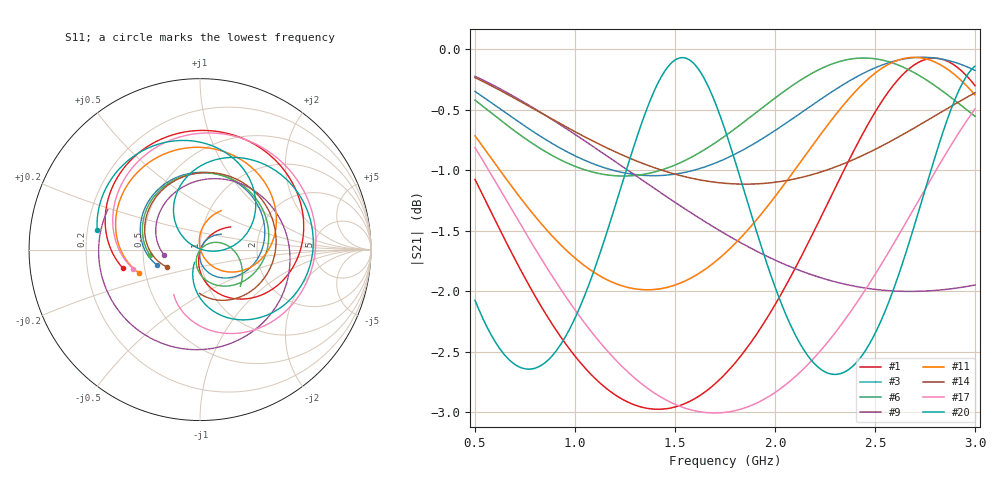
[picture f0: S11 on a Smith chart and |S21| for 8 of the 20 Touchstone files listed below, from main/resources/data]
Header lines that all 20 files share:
!freq-unit  param-type  data-format  keyword  impedance-ohms
# GHZ  S  RI  R  50
!Freq  ReS11  ImS11  ReS21  ImS21  ReS12  ImS12  ReS22  ImS22
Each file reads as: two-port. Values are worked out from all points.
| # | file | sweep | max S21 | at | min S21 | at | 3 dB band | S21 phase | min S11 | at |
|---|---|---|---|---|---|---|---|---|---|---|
| 1 | 6.s2p | 500 MHz to 3 GHz | -0.07 dB | 2.8 GHz | -3.0 dB | 1.42 GHz | 500 MHz-3 GHz | 130 deg at 1.75 GHz | -47.0 dB | 2.8 GHz |
| 2 | 7.s2p | 500 MHz to 3 GHz | -0.22 dB | 500 MHz | -1.1 dB | 1.87 GHz | 500 MHz-3 GHz | 149 deg at 1.75 GHz | -13.5 dB | 500 MHz |
| 3 | 8.s2p | 500 MHz to 3 GHz | -0.07 dB | 2.74 GHz | -1.0 dB | 1.39 GHz | 500 MHz-3 GHz | 124 deg at 1.75 GHz | -52.0 dB | 2.74 GHz |
| 4 | 9.s2p | 500 MHz to 3 GHz | -0.09 dB | 2.97 GHz | -2.6 dB | 1.49 GHz | 500 MHz-3 GHz | 134 deg at 1.75 GHz | -47.8 dB | 2.97 GHz |
| 5 | 11.s2p | 500 MHz to 3 GHz | -0.16 dB | 3 GHz | -1.1 dB | 1.65 GHz | 500 MHz-3 GHz | 35 deg at 1.75 GHz | -18.1 dB | 3 GHz |
| 6 | 12.s2p | 500 MHz to 3 GHz | -0.07 dB | 2.44 GHz | -1.0 dB | 1.24 GHz | 500 MHz-3 GHz | 80 deg at 1.75 GHz | -54.7 dB | 2.45 GHz |
| 7 | 14.s2p | 500 MHz to 3 GHz | -0.39 dB | 500 MHz | -2.0 dB | 1.99 GHz | 500 MHz-3 GHz | 138 deg at 1.75 GHz | -10.9 dB | 500 MHz |
| 8 | 16.s2p | 500 MHz to 3 GHz | -0.34 dB | 500 MHz | -2.0 dB | 2.15 GHz | 500 MHz-3 GHz | 112 deg at 1.75 GHz | -11.6 dB | 500 MHz |
| 9 | 17.s2p | 500 MHz to 3 GHz | -0.22 dB | 500 MHz | -2.0 dB | 2.67 GHz | 500 MHz-3 GHz | 110 deg at 1.75 GHz | -13.5 dB | 500 MHz |
| 10 | 0018.s2p | 45 MHz to 18 GHz | -0.01 dB | 45 MHz | -3.3 dB | 16.84 GHz | 45 MHz-16.45 GHz | -16 deg at 9.025 GHz | -47.4 dB | 3.825 GHz |
| 11 | 22.s2p | 500 MHz to 3 GHz | -0.07 dB | 2.7 GHz | -2.0 dB | 1.36 GHz | 500 MHz-3 GHz | 133 deg at 1.75 GHz | -50.3 dB | 2.7 GHz |
| 12 | 24.s2p | 500 MHz to 3 GHz | -0.16 dB | 3 GHz | -2.0 dB | 1.63 GHz | 500 MHz-3 GHz | 131 deg at 1.75 GHz | -17.2 dB | 3 GHz |
| 13 | 25.s2p | 500 MHz to 3 GHz | -0.28 dB | 3 GHz | -3.5 dB | 1.63 GHz | 1.95 GHz-3 GHz | 140 deg at 1.75 GHz | -13.5 dB | 3 GHz |
| 14 | 26.s2p | 500 MHz to 3 GHz | -0.23 dB | 500 MHz | -1.1 dB | 1.85 GHz | 500 MHz-3 GHz | 149 deg at 1.75 GHz | -13.2 dB | 500 MHz |
| 15 | 30.s2p | 500 MHz to 3 GHz | -0.07 dB | 2.84 GHz | -3.0 dB | 1.44 GHz | 500 MHz-3 GHz | 132 deg at 1.75 GHz | -63.1 dB | 2.84 GHz |
| 16 | 31.s2p | 500 MHz to 3 GHz | -0.07 dB | 2.77 GHz | -3.0 dB | 1.4 GHz | 500 MHz-3 GHz | 142 deg at 1.75 GHz | -44.5 dB | 2.78 GHz |
| 17 | 32.s2p | 500 MHz to 3 GHz | -0.49 dB | 3 GHz | -3.0 dB | 1.7 GHz | 500 MHz-3 GHz | 161 deg at 1.75 GHz | -10.3 dB | 3 GHz |
| 18 | 33.s2p | 500 MHz to 3 GHz | -0.19 dB | 3 GHz | -2.0 dB | 1.65 GHz | 500 MHz-3 GHz | 131 deg at 1.75 GHz | -15.6 dB | 3 GHz |
| 19 | 40.s2p | 500 MHz to 3 GHz | -0.19 dB | 500 MHz | -2.0 dB | 2.92 GHz | 500 MHz-3 GHz | 176 deg at 1.75 GHz | -14.1 dB | 500 MHz |
| 20 | 41.s2p | 500 MHz to 3 GHz | -0.07 dB | 1.54 GHz | -2.7 dB | 2.3 GHz | 500 MHz-3 GHz | 23 deg at 1.75 GHz | -45.1 dB | 1.54 GHz |
